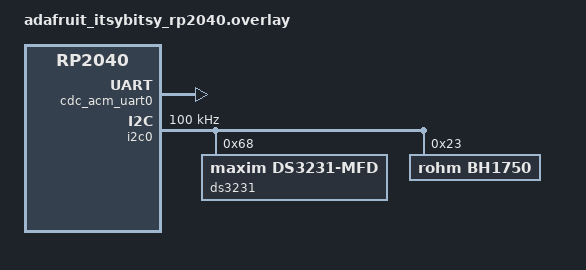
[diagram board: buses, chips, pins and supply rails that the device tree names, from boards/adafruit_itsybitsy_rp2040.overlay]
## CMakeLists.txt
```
cmake_minimum_required(VERSION 3.20.0)

find_package(Zephyr REQUIRED HINTS $ENV{ZEPHYR_BASE})

project(wordclock)

target_sources(app PRIVATE
    src/main.c
    src/time_process/time_process.c
    src/time_process/time_frame.c
    src/ambiente/ambiente.c
    src/display/display.c
    src/word_map/word_map.c
)
```

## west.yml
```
manifest:
  self:
    path: .

  remotes:
    - name: zephyrproject-rtos
      url-base: https://github.com/zephyrproject-rtos

  projects:
    - name: zephyr
      remote: zephyrproject-rtos
      revision: v4.4.2
      import:
        name-allowlist:
          - cmsis_6
          - hal_rpi_pico
```

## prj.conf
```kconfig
# Zephyr log subsys
CONFIG_LOG=y
CONFIG_LOG_DEFAULT_LEVEL=3

# Acitvate I2C
CONFIG_I2C=y

# Activate rtc
CONFIG_RTC=y
CONFIG_MFD_DS3231=y
CONFIG_RTC_DS3231=y

# Activate sensor
CONFIG_SENSOR=y
CONFIG_BH1750=y

# Activate shell
CONFIG_SHELL=y
CONFIG_SHELL_BACKEND_SERIAL=y
CONFIG_SHELL_CMDS_RETURN_VALUE=n
CONFIG_SHELL_VT100_COMMANDS=y
CONFIG_APP_VERSION_SHELL=y
CONFIG_I2C_SHELL=n
CONFIG_DATE_SHELL=n
CONFIG_DEVICE_SHELL=n
CONFIG_DEVMEM_SHELL=n
CONFIG_KERNEL_SHELL=n

# Activate serial console
CONFIG_SERIAL=y
CONFIG_CONSOLE=y
CONFIG_UART_CONSOLE=y
CONFIG_STDOUT_CONSOLE=y
CONFIG_UART_LINE_CTRL=y

# Led strip
CONFIG_LED_STRIP=y

# Persistent application settings in flash
CONFIG_FLASH=y
CONFIG_FLASH_MAP=y
CONFIG_NVS=y
CONFIG_NVS_LOG_LEVEL_WRN=y
CONFIG_SETTINGS=y
CONFIG_SETTINGS_NVS=y
```

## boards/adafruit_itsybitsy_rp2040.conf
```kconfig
# Activate serial over usb
CONFIG_USB_DEVICE_STACK_NEXT=y
CONFIG_CDC_ACM_SERIAL_INITIALIZE_AT_BOOT=y
CONFIG_CDC_ACM_SERIAL_PID=0x0004
CONFIG_CDC_ACM_SERIAL_PRODUCT_STRING="SimpleWordClock"
CONFIG_USBD_CDC_ACM_LOG_LEVEL_OFF=y
CONFIG_USBD_LOG_LEVEL_OFF=y

# Activate pio driver for leds
CONFIG_WS2812_STRIP_RPI_PICO_PIO=y
```

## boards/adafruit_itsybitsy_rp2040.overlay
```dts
#include <zephyr/dt-bindings/pinctrl/rpi-pico-rp2040-pinctrl.h>

/ {
	chosen {
		zephyr,console = &cdc_acm_uart0;
		zephyr,shell-uart = &cdc_acm_uart0;
		zephyr,settings-partition = &storage_partition;
	};
};

&zephyr_udc0 {
	cdc_acm_uart0: cdc_acm_uart0 {
		compatible = "zephyr,cdc-acm-uart";
	};
};

/* Override for external WS2812 LED-Strip */
&ws2812 {
    gpios = <&gpio0 14 GPIO_ACTIVE_HIGH>;
    chain-length = <104>;
};

&ws2812_pio0_default {
    ws2812 {
        pinmux = <PIO0_P14>;
    };
};

/* remap i2C interface to gpio 24 (SDA) and 25 (SCL)*/
&pinctrl {
    /* Standard-Zustand im aktiven Betrieb */
    i2c0_default: i2c0_default {
        group1 {
            pinmux = <I2C0_SDA_P24>, <I2C0_SCL_P25>;
            bias-pull-up;     
            input-enable;     
        };
    };
};

/* I2C bus and devices */
&i2c0 {
    status = "okay";
    pinctrl-0 = <&i2c0_default>;
    pinctrl-names = "default";
    clock-frequency = <I2C_BITRATE_STANDARD>;

    ds3231: ds3231@68 {
        compatible = "maxim,ds3231-mfd";
        reg = <0x68>;
        status = "okay";

        rtc_ext: rtc {
            compatible = "maxim,ds3231-rtc";
            status = "okay";

            isw-gpios = <&gpio0 29 (GPIO_ACTIVE_LOW | GPIO_PULL_UP)>;
        };
    };

    bh1750: bh1750@23 {
        compatible = "rohm,bh1750";
        reg = <0x23>;
        status = "okay";
    };
};

&code_partition {
    reg = <0x100 0x7eff00>;
};

&flash0 {
    partitions {
        storage_partition: partition@7f0000 {
            label = "storage";
            reg = <0x7f0000 0x10000>;
        };
    };
};
```

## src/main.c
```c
#include <zephyr/kernel.h>
#include <zephyr/logging/log.h>
#include <errno.h>
#include <stdint.h>

#include "time_process/time_process.h"
#include "ambiente/ambiente.h"
#include "display/display.h"
#include <zephyr/shell/shell.h>
#include <pico/bootrom.h>

LOG_MODULE_REGISTER(main, LOG_LEVEL_INF);

#define TIME_PROCESS_INTERVAL_MS  1000U
#define AMBIENTE_INTERVAL_MS     5000U

#define TIME_PROCESS_STACK_SIZE   1024
#define AMBIENTE_STACK_SIZE      1024

/* Thread priorities: lower number means higher priority */
#define TIME_PROCESS_PRIORITY     6
#define AMBIENTE_PRIORITY        6

K_THREAD_STACK_DEFINE(time_process_stack, TIME_PROCESS_STACK_SIZE);
K_THREAD_STACK_DEFINE(ambiente_stack, AMBIENTE_STACK_SIZE);

static struct k_thread time_process_thread_data;
static struct k_thread ambiente_thread_data;

/* Thread arguments must remain valid for the thread lifetime. */
static const uint32_t time_process_interval_ms =
    TIME_PROCESS_INTERVAL_MS;

static const uint32_t ambiente_interval_ms =
    AMBIENTE_INTERVAL_MS;

static int cmd_bootsel(const struct shell *sh, size_t argc, char **argv)
{
    shell_print(sh, "Rebooting into BOOTSEL/UF2 mode.");
    
    // Allow time for the shell to send the message before rebooting.
    k_msleep(100); 

    // Parameter 1: GPIO mask for LEDs to blink in BOOTSEL mode (0 = none).
    // Parameter 2: Interface selection (0 = USB mass storage / UF2).
    reset_usb_boot(0, 0); 
    
    return 0;
}

SHELL_CMD_REGISTER(bootsel, NULL, "Reboot into RP2040 BOOTSEL mode", cmd_bootsel);

int main(void)
{
    int ret = display_init();

    if (ret < 0) {
        LOG_ERR("Could not initialize the display (error %d).", ret);
        return ret;
    }

    k_tid_t tid = k_thread_create(
        &time_process_thread_data,
        time_process_stack,
        K_THREAD_STACK_SIZEOF(time_process_stack),
        time_process_thread,
        (void *)&time_process_interval_ms,
        NULL,
        NULL,
        TIME_PROCESS_PRIORITY,
        0,
        K_NO_WAIT
    );

    if (!tid) {
        LOG_ERR("Could not create the time-processing thread.");
        return -EAGAIN;
    }

    k_thread_start(&time_process_thread_data);

    tid = k_thread_create(
        &ambiente_thread_data,
        ambiente_stack,
        K_THREAD_STACK_SIZEOF(ambiente_stack),
        ambiente_thread,
        (void *)&ambiente_interval_ms,
        NULL,
        NULL,
        AMBIENTE_PRIORITY,
        0,
        K_NO_WAIT
    );

    if (!tid) {
        LOG_ERR("Could not create the ambient-light thread.");
        return -EAGAIN;
    }

    k_thread_start(&ambiente_thread_data);

    return 0;
}
```
